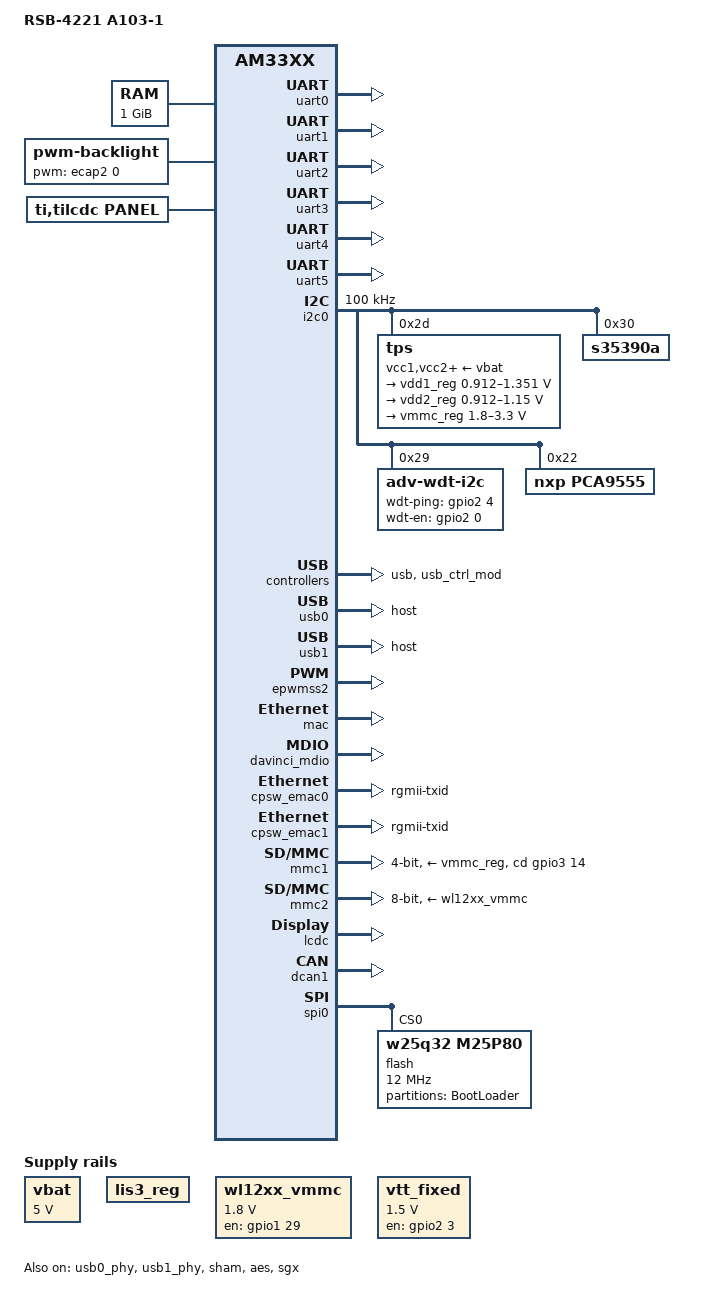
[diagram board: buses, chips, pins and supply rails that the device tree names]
/*
 * Copyright (C) 2012 Texas Instruments Incorporated - http://www.ti.com/
 *
 * This program is free software; you can redistribute it and/or modify
 * it under the terms of the GNU General Public License version 2 as
 * published by the Free Software Foundation.
 */

/*
 * AM335x Starter Kit
 * http://www.ti.com/tool/tmdssk3358
 */

/dts-v1/;

#include "am33xx.dtsi"
#include <dt-bindings/pwm/pwm.h>
#include <dt-bindings/interrupt-controller/irq.h>

/ {
	model = "RSB-4221 A103-1";
	compatible = "ti,am335x-evmsk", "ti,am33xx";

	cpus {
		cpu@0 {
			cpu0-supply = <&vdd1_reg>;
		};
	};

	memory {
		device_type = "memory";
		reg = <0x80000000 0x40000000>; /* 256 MB * 4 */
	};

	vbat: fixedregulator@0 {
		compatible = "regulator-fixed";
		regulator-name = "vbat";
		regulator-min-microvolt = <5000000>;
		regulator-max-microvolt = <5000000>;
		regulator-boot-on;
	};

	lis3_reg: fixedregulator@1 {
		compatible = "regulator-fixed";
		regulator-name = "lis3_reg";
		regulator-boot-on;
	};

	wl12xx_vmmc: fixedregulator@2 {
		pinctrl-names = "default";
		pinctrl-0 = <&wl12xx_gpio>;
		compatible = "regulator-fixed";
		regulator-name = "vwl1271";
		regulator-min-microvolt = <1800000>;
		regulator-max-microvolt = <1800000>;
		gpio = <&gpio1 29 0>;
		startup-delay-us = <70000>;
		enable-active-high;
	};

	vtt_fixed: fixedregulator@3 {
		compatible = "regulator-fixed";
		regulator-name = "vtt";
		regulator-min-microvolt = <1500000>;
		regulator-max-microvolt = <1500000>;
		gpio = <&gpio2 3 GPIO_ACTIVE_HIGH>;
		regulator-always-on;
		regulator-boot-on;
		enable-active-high;
	};

	backlight {
		compatible = "pwm-backlight";
		pwms = <&ecap2 0 50000 0>;
		brightness-levels = <0 58 61 66 75 90 125 170 255>;
		default-brightness-level = <8>;
	};

	panel {
		compatible = "ti,tilcdc,panel";
		pinctrl-names = "default", "sleep";
		pinctrl-0 = <&lcd_pins_default>;
		pinctrl-1 = <&lcd_pins_sleep>;
		status = "okay";
		adv_lcd_timing=<111 1 45
						45 1 210
						23 1 25
						112 1 200
					>;
		panel-info {
			ac-bias           = <255>;
			ac-bias-intrpt    = <0>;
			dma-burst-sz      = <16>;
			bpp               = <32>;
			fdd               = <0x80>;
			sync-edge         = <0>;
			sync-ctrl         = <1>;
			raster-order      = <0>;
			fifo-th           = <0>;
		};
		display-timings {
			800x480 {
				hactive         = <800>;
				vactive         = <480>;
				hback-porch     = <127>;
				hfront-porch    = <127>;
				hsync-len       = <2>;
				vback-porch     = <13>;
				vfront-porch    = <13>;
				vsync-len       = <2>;
				clock-frequency = <33000000>;
				hsync-active    = <0>;
				vsync-active    = <0>;
			};
		};
	};
};

&am33xx_pinmux {
	pinctrl-names = "default";
	pinctrl-0 = <&ddr3_vtt_toggle>;

	ddr3_vtt_toggle: ddr3_vtt_toggle {
		pinctrl-single,pins = <
				0x94 0x7	/* gpmc_oen_ren.gpio2_3, OUTPUT | MODE7 */
		>;
	};

	lcd_pins_default: lcd_pins_default {
		pinctrl-single,pins = <
			0x38 (PIN_OUTPUT | MUX_MODE1)	/* gpmc_ad14.lcd_data17 */
			0x3c (PIN_OUTPUT | MUX_MODE1)	/* gpmc_ad15.lcd_data16 */
			0xa0 (PIN_OUTPUT | MUX_MODE0)	/* lcd_data0.lcd_data0 */
			0xa4 (PIN_OUTPUT | MUX_MODE0)	/* lcd_data1.lcd_data1 */
			0xa8 (PIN_OUTPUT | MUX_MODE0)	/* lcd_data2.lcd_data2 */
			0xac (PIN_OUTPUT | MUX_MODE0)	/* lcd_data3.lcd_data3 */
			0xb0 (PIN_OUTPUT | MUX_MODE0)	/* lcd_data4.lcd_data4 */
			0xb4 (PIN_OUTPUT | MUX_MODE0)	/* lcd_data5.lcd_data5 */
			0xb8 (PIN_OUTPUT | MUX_MODE0)	/* lcd_data6.lcd_data6 */
			0xbc (PIN_OUTPUT | MUX_MODE0)	/* lcd_data7.lcd_data7 */
			0xc0 (PIN_OUTPUT | MUX_MODE0)	/* lcd_data8.lcd_data8 */
			0xc4 (PIN_OUTPUT | MUX_MODE0)	/* lcd_data9.lcd_data9 */
			0xc8 (PIN_OUTPUT | MUX_MODE0)	/* lcd_data10.lcd_data10 */
			0xcc (PIN_OUTPUT | MUX_MODE0)	/* lcd_data11.lcd_data11 */
			0xd0 (PIN_OUTPUT | MUX_MODE0)	/* lcd_data12.lcd_data12 */
			0xd4 (PIN_OUTPUT | MUX_MODE0)	/* lcd_data13.lcd_data13 */
			0xd8 (PIN_OUTPUT | MUX_MODE0)	/* lcd_data14.lcd_data14 */
			0xdc (PIN_OUTPUT | MUX_MODE0)	/* lcd_data15.lcd_data15 */
			0xe0 (PIN_OUTPUT | MUX_MODE0)	/* lcd_vsync.lcd_vsync */
			0xe4 (PIN_OUTPUT | MUX_MODE0)	/* lcd_hsync.lcd_hsync */
			0xe8 (PIN_OUTPUT | MUX_MODE0)	/* lcd_pclk.lcd_pclk */
			0xec (PIN_OUTPUT | MUX_MODE0)	/* lcd_ac_bias_en.lcd_ac_bias_en */
			0x194 (PIN_OUTPUT | MUX_MODE7)	/* mcasp0_fsx.gpio3_15 */
			0x198 (PIN_OUTPUT | MUX_MODE7)	/* mcasp0_axr0.gpio3_16 */
			/*change from gpio2_2 to gpio1_13*/
			0x34 (PIN_OUTPUT  | MUX_MODE7)  /* gpmc_ad13.gpio1_13 */
			0x24 (PIN_OUTPUT  | MUX_MODE7)	/* gpmc_ad9.gpio0_23 */ 
			/*0x90 (PIN_OUTPUT  | MUX_MODE7)*/ /* gpmc_advn_ale.gpio2_2 */
		>;
	};

	lcd_pins_sleep: lcd_pins_sleep {
		pinctrl-single,pins = <
			0x38 (PIN_INPUT_PULLDOWN | MUX_MODE7)	/* gpmc_ad14.lcd_data17 */
			0x3c (PIN_INPUT_PULLDOWN | MUX_MODE7)	/* gpmc_ad15.lcd_data16 */
			0xa0 (PULL_DISABLE | MUX_MODE7)	/* lcd_data0.lcd_data0 */
			0xa4 (PULL_DISABLE | MUX_MODE7)	/* lcd_data1.lcd_data1 */
			0xa8 (PULL_DISABLE | MUX_MODE7)	/* lcd_data2.lcd_data2 */
			0xac (PULL_DISABLE | MUX_MODE7)	/* lcd_data3.lcd_data3 */
			0xb0 (PULL_DISABLE | MUX_MODE7)	/* lcd_data4.lcd_data4 */
			0xb4 (PULL_DISABLE | MUX_MODE7)	/* lcd_data5.lcd_data5 */
			0xb8 (PULL_DISABLE | MUX_MODE7)	/* lcd_data6.lcd_data6 */
			0xbc (PULL_DISABLE | MUX_MODE7)	/* lcd_data7.lcd_data7 */
			0xc0 (PULL_DISABLE | MUX_MODE7)	/* lcd_data8.lcd_data8 */
			0xc4 (PULL_DISABLE | MUX_MODE7)	/* lcd_data9.lcd_data9 */
			0xc8 (PULL_DISABLE | MUX_MODE7)	/* lcd_data10.lcd_data10 */
			0xcc (PULL_DISABLE | MUX_MODE7)	/* lcd_data11.lcd_data11 */
			0xd0 (PULL_DISABLE | MUX_MODE7)	/* lcd_data12.lcd_data12 */
			0xd4 (PULL_DISABLE | MUX_MODE7)	/* lcd_data13.lcd_data13 */
			0xd8 (PULL_DISABLE | MUX_MODE7)	/* lcd_data14.lcd_data14 */
			0xdc (PULL_DISABLE | MUX_MODE7)	/* lcd_data15.lcd_data15 */
			0xe0 (PIN_INPUT_PULLDOWN | MUX_MODE7)	/* lcd_vsync.lcd_vsync */
			0xe4 (PIN_INPUT_PULLDOWN | MUX_MODE7)	/* lcd_hsync.lcd_hsync */
			0xe8 (PIN_INPUT_PULLDOWN | MUX_MODE7)	/* lcd_pclk.lcd_pclk */
			0xec (PIN_INPUT_PULLDOWN | MUX_MODE7)	/* lcd_ac_bias_en.lcd_ac_bias_en */
			0x194 (PIN_INPUT_PULLDOWN | MUX_MODE7)	/* mcasp0_fsx.gpio3_15 */
			0x198 (PIN_INPUT_PULLDOWN | MUX_MODE7)	/* mcasp0_axr0.gpio3_16 */
			/*change from gpio2_2 to gpio1_13*/
			0x34 (PIN_OUTPUT  | MUX_MODE7)    /* gpio1_13 */
			0x24 (PIN_OUTPUT  | MUX_MODE7)  /* gpmc_ad9.gpio0_23 */
			/*0x90 (PIN_OUTPUT  | MUX_MODE7)*/	/* gpmc_advn_ale.gpio2_2 */
		>;
	};

	user_leds_default: user_leds_default {
		pinctrl-single,pins = <
			0x10 (PIN_OUTPUT_PULLDOWN | MUX_MODE7)	/* gpmc_ad4.gpio1_4 */
			0x14 (PIN_OUTPUT_PULLDOWN | MUX_MODE7)	/* gpmc_ad5.gpio1_5 */
			0x18 (PIN_OUTPUT_PULLDOWN | MUX_MODE7)	/* gpmc_ad6.gpio1_6 */
			0x1c (PIN_OUTPUT_PULLDOWN | MUX_MODE7)	/* gpmc_ad7.gpio1_7 */
		>;
	};

	user_leds_sleep: user_leds_sleep {
		pinctrl-single,pins = <
			0x10 (PIN_INPUT_PULLDOWN | MUX_MODE7)	/* gpmc_a5.gpio1_21 */
			0x14 (PIN_INPUT_PULLDOWN | MUX_MODE7)	/* gpmc_a6.gpio1_22 */
			0x18 (PIN_INPUT_PULLDOWN | MUX_MODE7)	/* gpmc_a7.gpio1_23 */
			0x1c (PIN_INPUT_PULLDOWN | MUX_MODE7)	/* gpmc_a8.gpio1_24 */
		>;
	};

	i2c0_pins: pinmux_i2c0_pins {
		pinctrl-single,pins = <
			0x188 (PIN_INPUT_PULLUP | MUX_MODE0)	/* i2c0_sda.i2c0_sda */
			0x18c (PIN_INPUT_PULLUP | MUX_MODE0)	/* i2c0_scl.i2c0_scl */
		>;
	};

	uart0_pins: pinmux_uart0_pins {
		pinctrl-single,pins = <
			0x170 (PIN_INPUT_PULLUP | MUX_MODE0)	/* uart0_rxd.uart0_rxd */
			0x174 (PIN_OUTPUT_PULLDOWN | MUX_MODE0)		/* uart0_txd.uart0_txd */
		>;
	};

	uart1_pins_default: pinmux_uart1_pins_default {
		pinctrl-single,pins = <
			0x178 (PIN_INPUT | MUX_MODE0)			/* uart1_ctsn.uart1_ctsn */
			0x17C (PIN_OUTPUT_PULLDOWN | MUX_MODE0)		/* uart1_rtsn.uart1_rtsn */
			/*0x17C (PIN_OUTPUT_PULLUP | MUX_MODE7)*/	/* uart1_rtsn.uart1_rtsn */
			0x180 (PIN_INPUT_PULLUP | MUX_MODE0)		/* uart1_rxd.uart1_rxd */
			0x184 (PIN_OUTPUT_PULLDOWN | MUX_MODE0) 	/* uart1_txd.uart1_txd */
		>;
	};

	uart1_pins_sleep: pinmux_uart1_pins_sleep {
		pinctrl-single,pins = <
			0x178 (PIN_INPUT_PULLDOWN | MUX_MODE7)
			0x17C (PIN_INPUT_PULLDOWN | MUX_MODE7)
			0x180 (PIN_INPUT_PULLDOWN | MUX_MODE7)
			0x184 (PIN_INPUT_PULLDOWN | MUX_MODE7)
		>;
	};

	uart2_pins_default: pinmux_uart2_pins_default {
		pinctrl-single,pins = <
			0x10c (PIN_INPUT_PULLUP | MUX_MODE6)		/* mii1_crs.uart2_rxd */
			0x110 (PIN_OUTPUT_PULLDOWN | MUX_MODE6) 	/* mii1_rxerr.uart2_txd */
		>;
	};

	uart2_pins_sleep: pinmux_uart2_pins_sleep {
		pinctrl-single,pins = <
			0x10c (PIN_INPUT_PULLDOWN | MUX_MODE7)
			0x110 (PIN_INPUT_PULLDOWN | MUX_MODE7)
		>;
	};

	uart3_pins_default: pinmux_uart3_pins_default {
		pinctrl-single,pins = <
			0x160 (PIN_INPUT_PULLUP | MUX_MODE1)		/* spi0_cs1.uart3_rxd */
			0x164 (PIN_OUTPUT_PULLDOWN | MUX_MODE1) 	/* ecap0_in_pwm0_out.uart3_txd */
		>;
	};

	uart3_pins_sleep: pinmux_uart3_pins_sleep {
		pinctrl-single,pins = <
			0x160 (PIN_INPUT_PULLDOWN | MUX_MODE7)
			0x164 (PIN_INPUT_PULLDOWN | MUX_MODE7)
		>;
	};

	uart4_pins_default: pinmux_uart4_pins_default {
		pinctrl-single,pins = <
			0x70 (PIN_INPUT_PULLUP | MUX_MODE6)		/* gpmc_wait0.uart4_rxd */
			0x74 (PIN_OUTPUT_PULLDOWN | MUX_MODE6) 		/* gpmc_wpn.uart4_txd */
		>;
	};

	uart4_pins_sleep: pinmux_uart4_pins_sleep {
		pinctrl-single,pins = <
			0x70 (PIN_INPUT_PULLDOWN | MUX_MODE7)
			0x74 (PIN_INPUT_PULLDOWN | MUX_MODE7)
		>;
	};

	uart5_pins_default: pinmux_uart5_pins_default {
		pinctrl-single,pins = <
			0x108 (PIN_INPUT_PULLUP | MUX_MODE3)		/* mii1_col.uart5_rxd */
			0x144 (PIN_OUTPUT_PULLDOWN | MUX_MODE3) 	/* rmii1_refclk.uart5_txd */
		>;
	};

	uart5_pins_sleep: pinmux_uart5_pins_sleep {
		pinctrl-single,pins = <
			0x108 (PIN_INPUT_PULLDOWN | MUX_MODE7)
			0x144 (PIN_INPUT_PULLDOWN | MUX_MODE7)
		>;
	};

	usb0_pins_default: pinmux_usb0_pins {
		pinctrl-single,pins = <
			0x21c (PIN_OUTPUT_PULLDOWN | MUX_MODE0) /* usb0_drvvbus.usb0_drvvbus */
		>;
	};

	dcan1_pins_default: dcan1_pins_default {
		pinctrl-single,pins = <
			0x168 (PIN_OUTPUT | MUX_MODE2) 		/* uart0_ctsn.d_can1_tx */
			0x16c (PIN_INPUT_PULLDOWN | MUX_MODE2) /* uart0_rtsn.d_can1_rx */
		>;
	};

	spi0_pins: pinmux_spi0_pins {
			pinctrl-single,pins = <
				0x150 (PIN_INPUT_PULLUP | MUX_MODE0)          /* sspi0_sclk.spi0_sclk */
				0x154 (PIN_INPUT_PULLUP | MUX_MODE0)          /* spi0_d0.spi0_d0 */
				0x158 (PIN_OUTPUT_PULLUP | MUX_MODE0)         /* spi0_d1.spi0_d1 */
				0x15c (PIN_OUTPUT_PULLUP | MUX_MODE0)         /* spi0_cs0.spi0_cs0 */
			>;
	};

	wdt_pins_default: pinmux_wdt_pins_default {
		pinctrl-single,pins = <
			0x88 (PIN_OUTPUT_PULLUP | MUX_MODE7)		/* gpmc_csn3.gpio2_0 */
			0x98 (PIN_OUTPUT_PULLUP | MUX_MODE7) 		/* gpmc_wen.gpio2_4 */
		>;
	};
	
	clkout2_pin: pinmux_clkout2_pin {
		pinctrl-single,pins = <
			0x1b4 (PIN_OUTPUT_PULLDOWN | MUX_MODE3)		/* xdma_event_intr1.clkout2 */
		>;
	};

	ecap2_pins: backlight_pins {
		pinctrl-single,pins = <
			0x19c 0x4	/* mcasp0_ahclkr.ecap2_in_pwm2_out MODE4 */
		>;
	};

		ecap2_pins_sleep: ecap2_pins_sleep {
		pinctrl-single,pins = <
			0x19c (PIN_INPUT_PULLDOWN | MUX_MODE7)	/* mcasp0_ahclkr.ecap2_in_pwm2_out */
		>;
	};

	cpsw_default: cpsw_default {
		pinctrl-single,pins = <
			/* Slave 1 */
			0x114 (PIN_OUTPUT_PULLDOWN | MUX_MODE2)	/* mii1_txen.rgmii1_tctl */
			0x118 (PIN_INPUT_PULLDOWN | MUX_MODE2)	/* mii1_rxdv.rgmii1_rctl */
			0x11c (PIN_OUTPUT_PULLDOWN | MUX_MODE2)	/* mii1_txd3.rgmii1_td3 */
			0x120 (PIN_OUTPUT_PULLDOWN | MUX_MODE2)	/* mii1_txd2.rgmii1_td2 */
			0x124 (PIN_OUTPUT_PULLDOWN | MUX_MODE2)	/* mii1_txd1.rgmii1_td1 */
			0x128 (PIN_OUTPUT_PULLDOWN | MUX_MODE2)	/* mii1_txd0.rgmii1_td0 */
			0x12c (PIN_OUTPUT_PULLDOWN | MUX_MODE2)	/* mii1_txclk.rgmii1_tclk */
			0x130 (PIN_INPUT_PULLDOWN | MUX_MODE2)	/* mii1_rxclk.rgmii1_rclk */
			0x134 (PIN_INPUT_PULLDOWN | MUX_MODE2)	/* mii1_rxd3.rgmii1_rd3 */
			0x138 (PIN_INPUT_PULLDOWN | MUX_MODE2)	/* mii1_rxd2.rgmii1_rd2 */
			0x13c (PIN_INPUT_PULLDOWN | MUX_MODE2)	/* mii1_rxd1.rgmii1_rd1 */
			0x140 (PIN_INPUT_PULLDOWN | MUX_MODE2)	/* mii1_rxd0.rgmii1_rd0 */

			/* Slave 2 */
			0x40 (PIN_OUTPUT_PULLDOWN | MUX_MODE2)	/* gpmc_a0.rgmii2_tctl */
			0x44 (PIN_INPUT_PULLDOWN | MUX_MODE2)	/* gpmc_a1.rgmii2_rctl */
			0x48 (PIN_OUTPUT_PULLDOWN | MUX_MODE2)	/* gpmc_a2.rgmii2_td3 */
			0x4c (PIN_OUTPUT_PULLDOWN | MUX_MODE2)	/* gpmc_a3.rgmii2_td2 */
			0x50 (PIN_OUTPUT_PULLDOWN | MUX_MODE2)	/* gpmc_a4.rgmii2_td1 */
			0x54 (PIN_OUTPUT_PULLDOWN | MUX_MODE2)	/* gpmc_a5.rgmii2_td0 */
			0x58 (PIN_OUTPUT_PULLDOWN | MUX_MODE2)	/* gpmc_a6.rgmii2_tclk */
			0x5c (PIN_INPUT_PULLDOWN | MUX_MODE2)	/* gpmc_a7.rgmii2_rclk */
			0x60 (PIN_INPUT_PULLDOWN | MUX_MODE2)	/* gpmc_a8.rgmii2_rd3 */
			0x64 (PIN_INPUT_PULLDOWN | MUX_MODE2)	/* gpmc_a9.rgmii2_rd2 */
			0x68 (PIN_INPUT_PULLDOWN | MUX_MODE2)	/* gpmc_a10.rgmii2_rd1 */
			0x6c (PIN_INPUT_PULLDOWN | MUX_MODE2)	/* gpmc_a11.rgmii2_rd0 */
		>;
	};

	cpsw_sleep: cpsw_sleep {
		pinctrl-single,pins = <
			/* Slave 1 reset value */
			0x114 (PIN_INPUT_PULLDOWN | MUX_MODE7)
			0x118 (PIN_INPUT_PULLDOWN | MUX_MODE7)
			0x11c (PIN_INPUT_PULLDOWN | MUX_MODE7)
			0x120 (PIN_INPUT_PULLDOWN | MUX_MODE7)
			0x124 (PIN_INPUT_PULLDOWN | MUX_MODE7)
			0x128 (PIN_INPUT_PULLDOWN | MUX_MODE7)
			0x12c (PIN_INPUT_PULLDOWN | MUX_MODE7)
			0x130 (PIN_INPUT_PULLDOWN | MUX_MODE7)
			0x134 (PIN_INPUT_PULLDOWN | MUX_MODE7)
			0x138 (PIN_INPUT_PULLDOWN | MUX_MODE7)
			0x13c (PIN_INPUT_PULLDOWN | MUX_MODE7)
			0x140 (PIN_INPUT_PULLDOWN | MUX_MODE7)

			/* Slave 2 reset value*/
			0x40 (PIN_INPUT_PULLDOWN | MUX_MODE7)
			0x44 (PIN_INPUT_PULLDOWN | MUX_MODE7)
			0x48 (PIN_INPUT_PULLDOWN | MUX_MODE7)
			0x4c (PIN_INPUT_PULLDOWN | MUX_MODE7)
			0x50 (PIN_INPUT_PULLDOWN | MUX_MODE7)
			0x54 (PIN_INPUT_PULLDOWN | MUX_MODE7)
			0x58 (PIN_INPUT_PULLDOWN | MUX_MODE7)
			0x5c (PIN_INPUT_PULLDOWN | MUX_MODE7)
			0x60 (PIN_INPUT_PULLDOWN | MUX_MODE7)
			0x64 (PIN_INPUT_PULLDOWN | MUX_MODE7)
			0x68 (PIN_INPUT_PULLDOWN | MUX_MODE7)
			0x6c (PIN_INPUT_PULLDOWN | MUX_MODE7)
		>;
	};

	davinci_mdio_default: davinci_mdio_default {
		pinctrl-single,pins = <
			/* MDIO */
			0x148 (PIN_INPUT_PULLUP | SLEWCTRL_FAST | MUX_MODE0)	/* mdio_data.mdio_data */
			0x14c (PIN_OUTPUT_PULLUP | MUX_MODE0)			/* mdio_clk.mdio_clk */
		>;
	};

	davinci_mdio_sleep: davinci_mdio_sleep {
		pinctrl-single,pins = <
			/* MDIO reset value */
			0x148 (PIN_INPUT_PULLDOWN | MUX_MODE7)
			0x14c (PIN_INPUT_PULLDOWN | MUX_MODE7)
		>;
	};

	mmc1_pins: pinmux_mmc1_pins {
		pinctrl-single,pins = <
			0x0F0 (PIN_INPUT_PULLUP | MUX_MODE0)	/* mmc0_dat3.mmc0_dat3 */
			0x0F4 (PIN_INPUT_PULLUP | MUX_MODE0)	/* mmc0_dat2.mmc0_dat2 */
			0x0F8 (PIN_INPUT_PULLUP | MUX_MODE0)	/* mmc0_dat1.mmc0_dat1 */
			0x0FC (PIN_INPUT_PULLUP | MUX_MODE0)	/* mmc0_dat0.mmc0_dat0 */
			0x100 (PIN_INPUT_PULLUP | MUX_MODE0)	/* mmc0_clk.mmc0_clk */
			0x104 (PIN_INPUT_PULLUP | MUX_MODE0)	/* mmc0_cmd.mmc0_cmd */
			0x1A0 (PIN_INPUT_PULLUP | MUX_MODE7)	/* mcasp0_aclkr.gpio3_18 */
			0x190 (PIN_INPUT_PULLUP | MUX_MODE7)	/* mcasp0_aclkx.gpio3_14 */
                        0x20 (PIN_INPUT_PULLDOWN  | MUX_MODE7) /* gpmc_ad8.gpio0_22 */
                        0x28 (PIN_OUTPUT_PULLUP  | MUX_MODE7) /* gpmc_ad10.gpio0_26 */
                       /* 0x90 (PIN_OUTPUT_PULLUP  | MUX_MODE7)*/ /* gpmc_advn_ale.gpio2_2 */
		>;
	};

	mmc1_pins_sleep: pinmux_mmc1_pins_sleep {
		pinctrl-single,pins = <
			0x0F0 (PIN_INPUT_PULLDOWN | MUX_MODE7)
			0x0F4 (PIN_INPUT_PULLDOWN | MUX_MODE7)
			0x0F8 (PIN_INPUT_PULLDOWN | MUX_MODE7)
			0x0FC (PIN_INPUT_PULLDOWN | MUX_MODE7)
			0x100 (PIN_INPUT_PULLDOWN | MUX_MODE7)
			0x104 (PIN_INPUT_PULLDOWN | MUX_MODE7)
			0x1A0 (PIN_INPUT_PULLDOWN | MUX_MODE7)
			0x20 (PIN_INPUT_PULLDOWN  | MUX_MODE7)
			0x28 (PIN_INPUT_PULLDOWN  | MUX_MODE7)
			0x90 (PIN_INPUT_PULLDOWN  | MUX_MODE7)
		>;
	};

	mcasp1_pins: mcasp1_pins {
		pinctrl-single,pins = <
			0x10c (PIN_INPUT_PULLDOWN | MUX_MODE4) /* mii1_crs.mcasp1_aclkx */
			0x110 (PIN_INPUT_PULLDOWN | MUX_MODE4) /* mii1_rxerr.mcasp1_fsx */
			0x108 (PIN_OUTPUT_PULLDOWN | MUX_MODE4) /* mii1_col.mcasp1_axr2 */
			0x144 (PIN_INPUT_PULLDOWN | MUX_MODE4) /* rmii1_ref_clk.mcasp1_axr3 */
		>;
	};

	mcasp1_pins_sleep: mcasp1_pins_sleep {
		pinctrl-single,pins = <
			0x10c (PIN_INPUT_PULLDOWN | MUX_MODE7)
			0x110 (PIN_INPUT_PULLDOWN | MUX_MODE7)
			0x108 (PIN_INPUT_PULLDOWN | MUX_MODE7)
			0x144 (PIN_INPUT_PULLDOWN | MUX_MODE7)
		>;
	};

	mmc2_pins: pinmux_mmc2_pins {
		pinctrl-single,pins = <
			0x80 (PIN_INPUT_PULLUP | MUX_MODE2) /* gpmc_csn1.mmc1_clk */
			0x84 (PIN_INPUT_PULLUP | MUX_MODE2) /* gpmc_csn2.mmc1_cmd */
			0x00 (PIN_INPUT_PULLUP | MUX_MODE1) /* gpmc_ad0.mmc1_dat0 */
			0x04 (PIN_INPUT_PULLUP | MUX_MODE1) /* gpmc_ad1.mmc1_dat1 */
			0x08 (PIN_INPUT_PULLUP | MUX_MODE1) /* gpmc_ad2.mmc1_dat2 */
			0x0c (PIN_INPUT_PULLUP | MUX_MODE1) /* gpmc_ad3.mmc1_dat3 */
			0x10 (PIN_INPUT_PULLUP | MUX_MODE1) /* gpmc_ad4.mmc1_dat4 */
			0x14 (PIN_INPUT_PULLUP | MUX_MODE1) /* gpmc_ad5.mmc1_dat5 */
			0x18 (PIN_INPUT_PULLUP | MUX_MODE1) /* gpmc_ad6.mmc1_dat6 */
			0x1c (PIN_INPUT_PULLUP | MUX_MODE1) /* gpmc_ad7.mmc1_dat7 */
		>;
	};

	wl12xx_gpio: pinmux_wl12xx_gpio {
		pinctrl-single,pins = <
			0x7c (PIN_OUTPUT_PULLUP | MUX_MODE7) /* gpmc_csn0.gpio1_29 */
		>;
	};
};

&uart0 {
	pinctrl-names = "default";
	pinctrl-0 = <&uart0_pins>;

	status = "okay";
};

&uart1 {
	pinctrl-names = "default", "sleep";
	pinctrl-0 = <&uart1_pins_default>;
	pinctrl-1 = <&uart1_pins_sleep>;
	status = "okay";
	
	rts-gpio = <&gpio0 13 GPIO_ACTIVE_HIGH>;
	/*rs485-rts-active-high;*/ 
	rs485-rx-during-tx;
	rs485-rts-delay = <1 0>;
	/*linux,rs485-enabled-at-boot-time;*/
	adv_rs485flag_gpio = <505>;

};

&uart2 {
	pinctrl-names = "default", "sleep";
	pinctrl-0 = <&uart2_pins_default>;
	pinctrl-1 = <&uart2_pins_sleep>;

	status = "okay";
};

&uart3 {
	pinctrl-names = "default", "sleep";
	pinctrl-0 = <&uart3_pins_default>;
	pinctrl-1 = <&uart3_pins_sleep>;

	status = "okay";
};

&uart4 {
	pinctrl-names = "default", "sleep";
	pinctrl-0 = <&uart4_pins_default>;
	pinctrl-1 = <&uart4_pins_sleep>;

	status = "okay";
};

&uart5 {
	pinctrl-names = "default", "sleep";
	pinctrl-0 = <&uart5_pins_default>;
	pinctrl-1 = <&uart5_pins_sleep>;

	status = "okay";
};

&i2c0 {
	pinctrl-names = "default";
	pinctrl-0 = <&i2c0_pins>;

	status = "okay";
	clock-frequency = <100000>;

	tps: tps@2d {
		reg = <0x2d>;
	};

	s35390a: s35390a@30 {
		compatible = "s35390a";
		reg = <0x30>;
		status = "okay";
	};

	adv-wdt-i2c@29 {
		compatible = "adv-wdt-i2c";
		reg = <0x29>;
		wdt-ping = <&gpio2 4 GPIO_ACTIVE_HIGH>;
		wdt-en = <&gpio2 0 GPIO_ACTIVE_HIGH>;
	};

	pca9555: gpio@22 {
		compatible = "nxp,pca9555";
		reg = <0x22>;
		polarity = <0>;
		default_value = <0 0 0 0 0 0 0 0 0 0 0 0 0 0 0 0>;
		default_direction = <0 0 0 0 0 0 0 0 0 0 0 0 0 0 0 0>;
		export_flag = <1 1 1 1 1 1 1 1 1 1 1 1 1 1 0 0>;
		status = "okay";
	};
};

&usb {
	status = "okay";
};

&usb_ctrl_mod {
	status = "okay";
};

&usb0_phy {
	status = "okay";
};

&usb1_phy {
	status = "okay";
};

&usb0 {
	status = "okay";
	dr_mode = "host";
};

&usb1 {
	status = "okay";
	dr_mode = "host";
};

&cppi41dma  {
	status = "okay";
};

&epwmss2 {
	status = "okay";

	ecap2: ecap@48304100 {
		status = "okay";
		pinctrl-names = "default";
		pinctrl-0 = <&ecap2_pins>;
	};
};

&wkup_m3_ipc {
	ti,needs-vtt-toggle;
	ti,vtt-gpio-pin = <67>;
	ti,scale-data-fw = "am335x-evm-scale-data.bin";
};

#include "tps65910.dtsi"

&tps {
	vcc1-supply = <&vbat>;
	vcc2-supply = <&vbat>;
	vcc3-supply = <&vbat>;
	vcc4-supply = <&vbat>;
	vcc5-supply = <&vbat>;
	vcc6-supply = <&vbat>;
	vcc7-supply = <&vbat>;
	vccio-supply = <&vbat>;

	regulators {
		vrtc_reg: regulator@0 {
			regulator-always-on;
		};

		vio_reg: regulator@1 {
			regulator-always-on;
		};

		vdd1_reg: regulator@2 {
			/* VDD_MPU voltage limits 0.95V - 1.26V with +/-4% tolerance */
			regulator-name = "vdd_mpu";
			regulator-min-microvolt = <912500>;
			regulator-max-microvolt = <1351500>;
			regulator-boot-on;
			regulator-always-on;
		};

		vdd2_reg: regulator@3 {
			/* VDD_CORE voltage limits 0.95V - 1.1V with +/-4% tolerance */
			regulator-name = "vdd_core";
			regulator-min-microvolt = <912500>;
			regulator-max-microvolt = <1150000>;
			regulator-boot-on;
			regulator-always-on;
		};

		vdd3_reg: regulator@4 {
			regulator-always-on;
		};

		vdig1_reg: regulator@5 {
			regulator-always-on;
		};

		vdig2_reg: regulator@6 {
			regulator-always-on;
		};

		vpll_reg: regulator@7 {
			regulator-always-on;
		};

		vdac_reg: regulator@8 {
			regulator-always-on;
		};

		vaux1_reg: regulator@9 {
			regulator-always-on;
		};

		vaux2_reg: regulator@10 {
			regulator-always-on;
		};

		vaux33_reg: regulator@11 {
			regulator-always-on;
		};

		vmmc_reg: regulator@12 {
			regulator-min-microvolt = <1800000>;
			regulator-max-microvolt = <3300000>;
			regulator-always-on;
		};
	};
};

&mac {
	pinctrl-names = "default", "sleep";
	pinctrl-0 = <&cpsw_default>;
	pinctrl-1 = <&cpsw_sleep>;
	dual_emac = <1>;
	status = "okay";
};

&davinci_mdio {
	pinctrl-names = "default", "sleep";
	pinctrl-0 = <&davinci_mdio_default>;
	pinctrl-1 = <&davinci_mdio_sleep>;
	status = "okay";
};

&cpsw_emac0 {
	phy_id = <&davinci_mdio>, <3>;
	phy-mode = "rgmii-txid";
	dual_emac_res_vlan = <2>;
	status = "okay";
};

&cpsw_emac1 {
	phy_id = <&davinci_mdio>, <7>;
	phy-mode = "rgmii-txid";
	dual_emac_res_vlan = <3>;
	status = "okay";
};

&mmc1 {
	status = "okay";
	vmmc-supply = <&vmmc_reg>;
	bus-width = <4>;
	pinctrl-names = "default", "sleep";
	pinctrl-0 = <&mmc1_pins>;
	pinctrl-1 = <&mmc1_pins_sleep>;
	cd-gpios = <&gpio3 14 GPIO_ACTIVE_HIGH>;
};

&sham {
	status = "okay";
};

&aes {
	status = "okay";
};

&gpio0 {
	ti,no-reset-on-init;
};

&mmc2 {
	status = "okay";
	vmmc-supply = <&wl12xx_vmmc>;
	ti,non-removable;
	bus-width = <8>;
	cap-power-off-card;
	pinctrl-names = "default";
	pinctrl-0 = <&mmc2_pins>;
};

&mcasp1 {
	#sound-dai-cells = <0>;
	pinctrl-names = "default", "sleep";
	pinctrl-0 = <&mcasp1_pins>;
	pinctrl-1 = <&mcasp1_pins_sleep>;

	status = "disabled";

	op-mode = <0>;          /* MCASP_IIS_MODE */
	tdm-slots = <2>;
	/* 4 serializers */
	serial-dir = <  /* 0: INACTIVE, 1: TX, 2: RX */
		0 0 1 2
	>;
	tx-num-evt = <32>;
	rx-num-evt = <32>;
};

&wdt2 {
	status = "disabled";
};

&tscadc {
	status = "disabled";
	tsc {
		ti,wires = <4>;
		ti,x-plate-resistance = <200>;
		ti,coordinate-readouts = <5>;
		ti,wire-config = <0x00 0x11 0x22 0x33>;
	};
};

&lcdc {
      status = "okay";
};

&dcan1 {
	status = "okay";
	pinctrl-names = "default";
	pinctrl-0 = <&dcan1_pins_default>;
};

&sgx {
	status = "okay";
};

&rtc {
	status = "disabled";
	clocks = <&clk_32768_ck>, <&clkdiv32k_ick>;
	clock-names = "ext-clk", "int-clk";
};

&spi0 {
	pinctrl-names = "default";
	pinctrl-0 = <&spi0_pins>;
	status = "okay";

	flash: m25p80@0 {
		compatible = "w25q32,m25p80";
		spi-max-frequency = <12000000>;
		reg = <0>;
		#address-cells = <1>;
		#size-cells = <1>;		

		/* MTD partition table.*/
		partition@0 {
		label = "BootLoader";
		reg = <0x00000000 0x00400000>;
		};
	};
};

&gpio2 {
     ti,no-reset-on-init;
};

